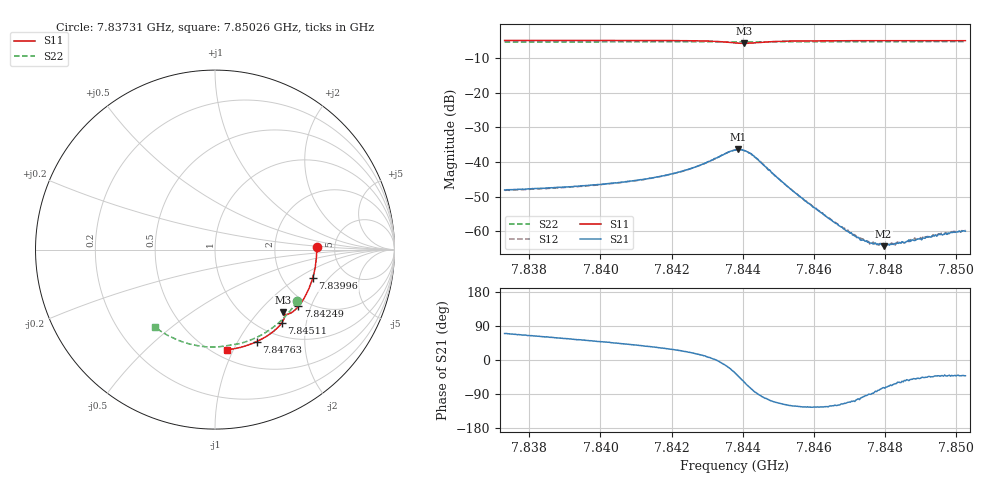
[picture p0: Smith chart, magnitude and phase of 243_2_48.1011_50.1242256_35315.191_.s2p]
#  HZ  S  RI  R  50.00
! Rohde & Schwarz Vector Network Analyzer
! Rohde-Schwarz,ZNB20-2Port,1311601062101988,3.16
! Created: UTC 12/23/2023, 3:59:00 AM
! freq[Hz]  re:S11  im:S11  re:S21  im:S21  re:S12  im:S12  re:S22  im:S22
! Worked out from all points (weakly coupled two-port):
!   401 points, 7.83731 GHz to 7.85026 GHz, reference 50 ohm
!   highest |S21| = -36.36 dB at 7.84388 GHz (marker M1); lowest = -64.2 dB at 7.84796 GHz (marker M2)
!   lowest |S11| = -5.8 dB at 7.84404 GHz (marker M3), VSWR 3.12, Z = 72.2 - j68.6 ohm
!   |S11| at or under -10 dB: nowhere
!   |S22| runs from -5.4 to -5.3 dB; largest |S21 - S12| = 0.00026
!   S11 on the Smith chart (normalised r, x): 7.83731 GHz: 3.60, +0.17; 7.83996 GHz: 2.91, -1.37; 7.84249 GHz: 1.77, -1.64; 7.84511 GHz: 1.24, -1.46; 7.84763 GHz: 0.80, -1.20; 7.85026 GHz: 0.58, -0.94
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7.837306e9  0.5661 0.0158  0.00136 0.00372  0.00138 0.00368  0.4563 -0.2881
7.839475e9  0.5524 -0.1279  0.00275 0.00364  0.0027 0.00358  0.3588 -0.4044
7.83996e9  0.544 -0.1595  0.00314 0.00355  0.00313 0.00351  0.3328 -0.4261
7.841644e9  0.4993 -0.2657  0.0052 0.00333  0.00516 0.00333  0.2326 -0.4888
7.842485e9  0.4651 -0.3162  0.00741 0.00278  0.00738 0.00277  0.178 -0.5114
7.843295e9  0.4162 -0.3565  0.0116 -0.000463  0.0116 -0.000426  0.123 -0.5264
7.84378e9  0.3811 -0.3576  0.0124 -0.00839  0.0123 -0.00821  0.0904 -0.5314
7.843878e9  0.3778 -0.3539  0.0111 -0.0104  0.0111 -0.0102  0.0843 -0.5324
7.844039e9  0.3778 -0.3495  0.0077 -0.0125  0.00775 -0.0124  0.074 -0.5339
7.844201e9  0.3825 -0.35  0.00389 -0.0129  0.00407 -0.0127  0.0639 -0.5357
7.844363e9  0.3869 -0.3568  0.00089 -0.0115  0.000889 -0.0115  0.0533 -0.5376
7.845108e9  0.3732 -0.407  -0.00228 -0.00465  -0.00228 -0.00467  0.00119 -0.5426
7.845949e9  0.3312 -0.4513  -0.00131 -0.0019  -0.00132 -0.00192  -0.0583 -0.5404
7.846759e9  0.2855 -0.4841  -0.00051 -0.00105  -0.000542 -0.00103  -0.1146 -0.532
7.847147e9  0.2626 -0.4975  -0.000287 -0.000811  -0.000266 -0.000853  -0.1411 -0.5259
7.847633e9  0.2333 -0.5121  2.28e-05 -0.000675  2.95e-05 -0.000683  -0.1739 -0.5163
7.847957e9  0.2132 -0.521  0.000181 -0.000586  0.000145 -0.000657  -0.1952 -0.5087
7.848118e9  0.2032 -0.5251  0.000232 -0.00059  0.000226 -0.000616  -0.2059 -0.5047
7.848507e9  0.1786 -0.5339  0.000374 -0.000589  0.000395 -0.000567  -0.2309 -0.4939
7.848766e9  0.1621 -0.5391  0.000478 -0.000587  0.000487 -0.000583  -0.2473 -0.486
7.849511e9  0.114 -0.5511  0.000687 -0.000609  0.00068 -0.000624  -0.2928 -0.4606
7.850255e9  0.065 -0.5588  0.000755 -0.00067  0.00079 -0.000681  -0.3357 -0.4307
